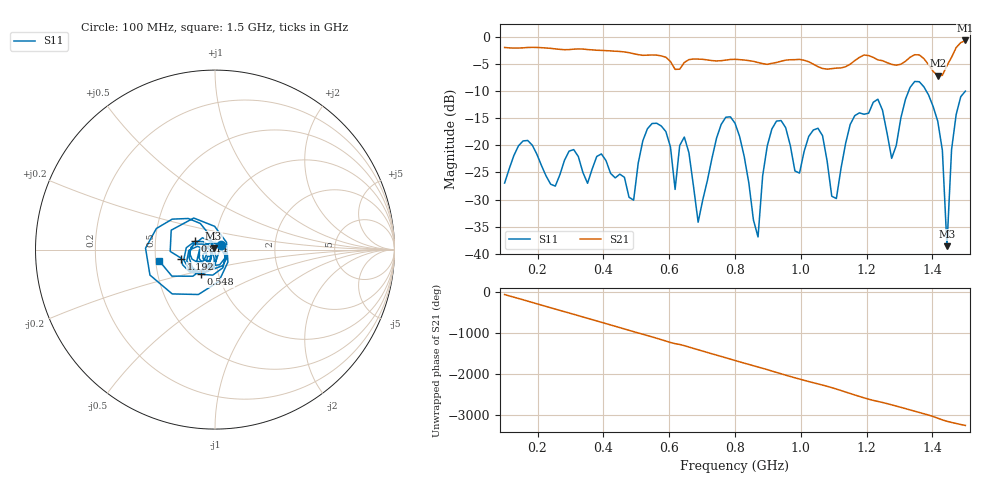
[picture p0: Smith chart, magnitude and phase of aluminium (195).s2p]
! NanoVNA-App
! Date: 2025-09-25 14:56:48
! Start: 100MHz Stop: 1,5GHz Points: 101
! S-Parameter data: F S11 S21 S12 S22
# Hz S RI R 50
!  Frequency  S11_Real  S11_Imag  S21_Real  S21_Imag  S12_Real  S12_Imag  S22_Real  S22_Imag
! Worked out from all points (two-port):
!   101 points, 100 MHz to 1.5 GHz, reference 50 ohm
!   highest |S21| = -0.62 dB at 1.5 GHz (marker M1); lowest = -7.1 dB at 1.416 GHz (marker M2)
!   |S21| within 3 dB of the highest: start of sweep to 584.3 MHz; 1.459 GHz to end of sweep (the widest 2 of 4)
!   lowest |S11| = -38.6 dB at 1.444 GHz (marker M3), VSWR 1.02, Z = 49.2 + j0.818 ohm
!   |S11| at or under -10 dB: start of sweep to 1.327 GHz; 1.382 GHz to 1.5 GHz (118.1 MHz wide, 8.2 % of centre)
!   S12 and S22 are empty: the file has one direction only
!   S11 on the Smith chart (normalised r, x): 100 MHz: 1.07, +0.06; 548 MHz: 0.82, -0.23; 814 MHz: 0.80, +0.07; 1.192 GHz: 0.68, -0.07; 1.5 GHz: 0.52, -0.07
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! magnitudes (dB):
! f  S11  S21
! 100 MHz  -27.0  -1.9
! 338 MHz  -25.0  -2.2
! 492 MHz  -30.1  -3.1
! 548 MHz  -16.0  -3.3
! 576 MHz  -16.4  -3.5
! 618 MHz  -28.1  -6.0
! 646 MHz  -18.5  -4.7
! 688 MHz  -34.2  -4.1
! 800 MHz  -15.9  -4.1
! 814 MHz  -18.4  -4.2
! 870 MHz  -36.9  -4.7
! 912 MHz  -17.0  -4.8
! 996 MHz  -25.1  -4.1
! 1.038 GHz  -17.2  -5.0
! 1.108 GHz  -29.8  -5.7
! 1.192 GHz  -14.2  -3.3
! 1.276 GHz  -22.4  -5.0
! 1.346 GHz  -8.2  -3.3
! 1.416 GHz  -15.5  -7.1
! 1.444 GHz  -38.6  -5.3
! 1.458 GHz  -20.8  -3.7
! 1.5 GHz  -10.0  -0.6
